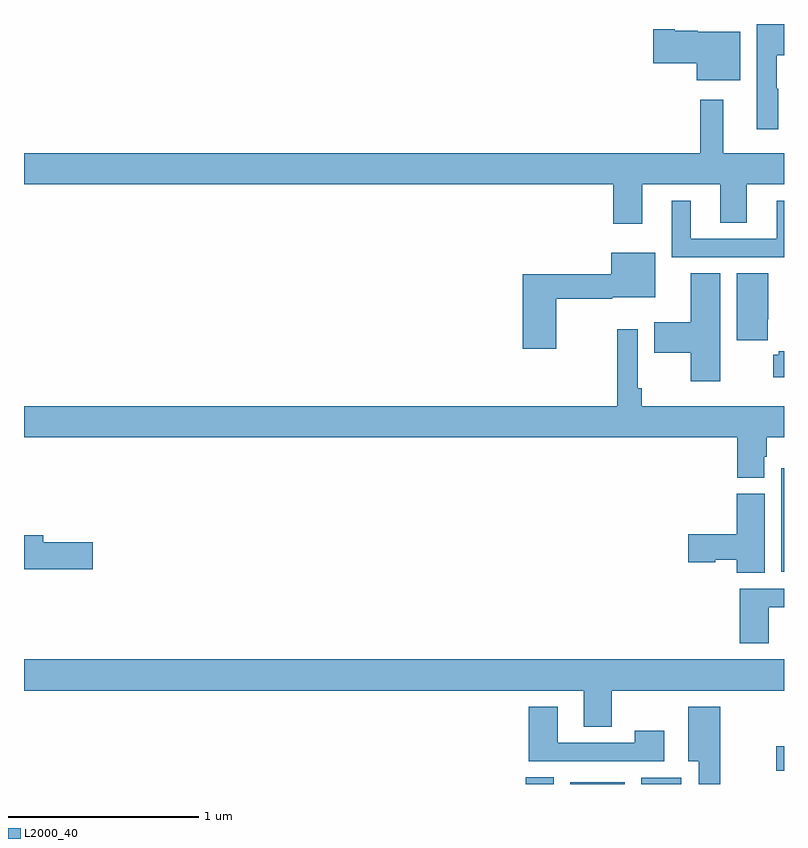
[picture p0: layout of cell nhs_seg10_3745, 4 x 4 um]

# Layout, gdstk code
import gdstk
lib = gdstk.Library(unit=1e-6, precision=1e-09)
def R(c, l, rs):  # rectangles x0, y0, x1, y1
    for r in rs: c.add(gdstk.rectangle(r[:2], r[2:], *l))
def P(c, l, *ps):  # polygons
    for p in ps: c.add(gdstk.Polygon(p, *l))
L2000_40 = (2000, 40)

nhs_seg10_3745 = lib.new_cell('nhs_seg10_3745')
R(nhs_seg10_3745, L2000_40, [(317.642,1290.5,317.788,1290.536), (317.876,1290.5,318.163,1290.508), (318.248,1290.5,318.46,1290.532), (318.96,1290.569,319,1290.699), (318.986,1291.616,319,1292.161)])
P(nhs_seg10_3745, L2000_40, [(318.971,1294.158),(318.961,1294.158),(318.961,1294.336),(319,1294.336),(319,1294.5),(318.857,1294.5),(318.857,1293.945),(318.971,1293.945)],
  [(318.769,1294.459),(318.546,1294.459),(318.546,1294.465),(318.424,1294.465),(318.424,1294.472),(318.312,1294.472),(318.312,1294.294),(318.542,1294.294),(318.542,1294.205),(318.769,1294.205)],
  [(318.253,1293.656),(318.665,1293.656),(318.665,1293.454),(318.805,1293.454),(318.805,1293.656),(319,1293.656),(319,1293.82),(318.679,1293.82),(318.679,1294.102),(318.558,1294.102),(318.558,1293.82),(315,1293.82),(315,1293.656),(318.101,1293.656),(318.101,1293.45),(318.253,1293.45)],
  [(319,1293.571),(318.962,1293.571),(318.962,1293.369),(318.508,1293.369),(318.508,1293.571),(318.41,1293.571),(318.41,1293.273),(319,1293.273)],
  [(317.802,1293.055),(318.096,1293.055),(318.096,1293.062),(318.322,1293.062),(318.322,1293.295),(318.092,1293.295),(318.092,1293.184),(317.624,1293.184),(317.624,1292.79),(317.802,1292.79)],
  [(318.664,1293.188),(318.509,1293.188),(318.509,1292.929),(318.316,1292.929),(318.316,1292.771),(318.509,1292.771),(318.509,1292.619),(318.664,1292.619)],
  [(318.914,1292.947),(318.916,1292.947),(318.916,1293.188),(318.752,1293.188),(318.752,1292.835),(318.914,1292.835)],
  [(318.895,1292.223),(318.908,1292.223),(318.908,1292.324),(319,1292.324),(319,1292.488),(318.251,1292.488),(318.251,1292.584),(318.231,1292.584),(318.231,1292.893),(318.123,1292.893),(318.123,1292.488),(315,1292.488),(315,1292.324),(318.755,1292.324),(318.755,1292.113),(318.895,1292.113)],
  [(319,1292.778),(318.972,1292.778),(318.972,1292.759),(318.943,1292.759),(318.943,1292.642),(319,1292.642)],
  [(318.898,1292.028),(318.752,1292.028),(318.752,1291.814),(318.495,1291.814),(318.495,1291.667),(318.638,1291.667),(318.638,1291.679),(318.752,1291.679),(318.752,1291.612),(318.898,1291.612)],
  [(315.361,1291.772),(315.1,1291.772),(315.1,1291.808),(315,1291.808),(315,1291.63),(315.361,1291.63)],
  [(318.919,1291.431),(319,1291.431),(319,1291.527),(318.767,1291.527),(318.767,1291.242),(318.919,1291.242)],
  [(318.093,1290.992),(319,1290.992),(319,1291.156),(315,1291.156),(315,1290.992),(317.945,1290.992),(317.945,1290.802),(318.093,1290.802)],
  [(318.664,1290.907),(318.497,1290.907),(318.497,1290.62),(318.551,1290.62),(318.551,1290.5),(318.664,1290.5)],
  [(318.37,1290.781),(318.214,1290.781),(318.214,1290.717),(317.809,1290.717),(317.809,1290.907),(317.657,1290.907),(317.657,1290.621),(318.37,1290.621)])

lib.write_gds('nhs_seg10_3745.gds')
